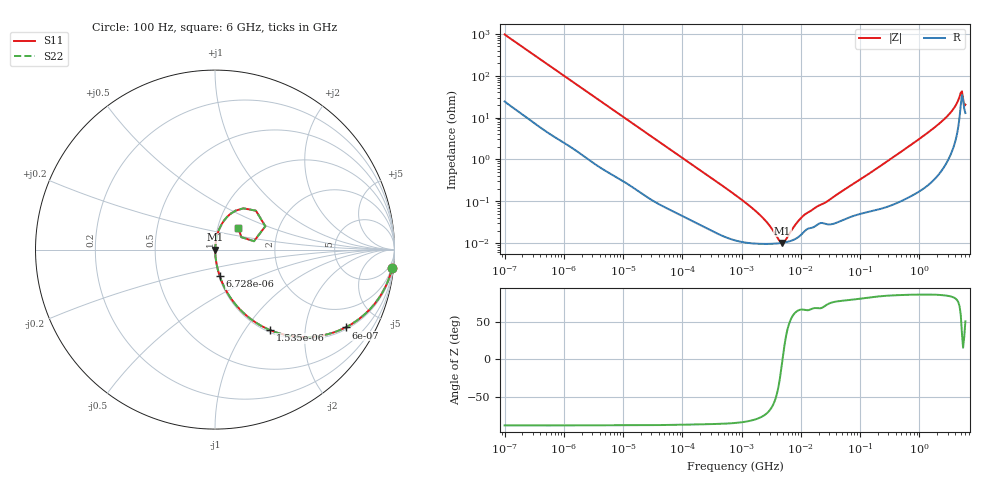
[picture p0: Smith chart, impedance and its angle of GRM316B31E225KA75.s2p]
!Murata Part Number: GRM316B31E225KA75
!These Parameters are Measured in Series Mode Connection
!Data Generated on Mar 30, 2021
!  o--ll--o
!Port1  Port2
!  o------o
!Operation Temp=25[degC], DC Bias Voltage=0[V]
!Freq. Start=100[Hz] Stop=6[GHz] 401[Steps]
# Hz S RI R 50
!Freq.(Hz) S11(Real) S11(Imag) S21(Real) S21(Imag) S12(Real) S12(Imag) S22(Real) S22(Imag)
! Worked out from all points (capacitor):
!   401 points, 100 Hz to 6 GHz, reference 50 ohm
!   read as one part in series: C = 1.64 uF near 109 Hz
!   lowest |Z| = 10.2 mohm at 4.857 MHz (marker M1)
!   series resonance near 4.916 MHz, so ESL is about 640 pH
!   S11 on the Smith chart (normalised r, x): 100 Hz: 1, -19; 600 Hz: 1.08, -3.31; 1.535 kHz: 1.03, -1.31; 6.728 kHz: 1.01, -0.31; 6 GHz: 1.26, +0.32
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100  0.9869 -0.1018  0.0131 0.1018  0.0131 0.1018  0.9869 -0.1018
293  0.913 -0.2702  0.087 0.2702  0.087 0.2702  0.913 -0.2702
600  0.7276 -0.4335  0.2724 0.4335  0.2724 0.4335  0.7276 -0.4335
981  0.5089 -0.4876  0.4911 0.4876  0.4911 0.4876  0.5089 -0.4876
1535  0.3054 -0.4478  0.6946 0.4478  0.6946 0.4478  0.3054 -0.4478
2008  0.2085 -0.3935  0.7915 0.3935  0.7915 0.3935  0.2085 -0.3935
3437  0.0867 -0.269  0.9133 0.269  0.9133 0.269  0.0867 -0.269
6728  0.0268 -0.1484  0.9732 0.1484  0.9732 0.1484  0.0268 -0.1484
40335  0.00155 -0.0263  0.9985 0.0263  0.9985 0.0263  0.00155 -0.0263
774597  0.000118 -0.00143  0.9999 0.00143  0.9999 0.00143  0.000118 -0.00143
2169299  9.63e-05 -0.000423  0.9999 0.000423  0.9999 0.000423  9.63e-05 -0.000423
4246196  9.93e-05 -6.84e-05  0.9999 6.84e-05  0.9999 6.84e-05  9.93e-05 -6.84e-05
4856642  0.000102 -5.6e-06  0.9999 5.6e-06  0.9999 5.6e-06  0.000102 -5.6e-06
5554849  0.000105 5.74e-05  0.9999 -5.74e-05  0.9999 -5.74e-05  0.000105 5.74e-05
9941735  0.000155 0.000359  0.9998 -0.000359  0.9998 -0.000359  0.000155 0.000359
1.555665e7  0.000234 0.000576  0.9998 -0.000576  0.9998 -0.000576  0.000234 0.000576
3.124326e8  0.000863 0.00973  0.9991 -0.00973  0.9991 -0.00973  0.000863 0.00973
2.240541e9  0.0102 0.0733  0.9898 -0.0733  0.9898 -0.0733  0.0102 0.0733
3.8344e9  0.0455 0.1547  0.9545 -0.1547  0.9545 -0.1547  0.0455 0.1547
4.796499e9  0.1585 0.23  0.8415 -0.23  0.8415 -0.23  0.1585 0.23
5.245841e9  0.2805 0.1301  0.7195 -0.1301  0.7195 -0.1301  0.2805 0.1301
6e9  0.1309 0.122  0.8691 -0.122  0.8691 -0.122  0.1309 0.122
